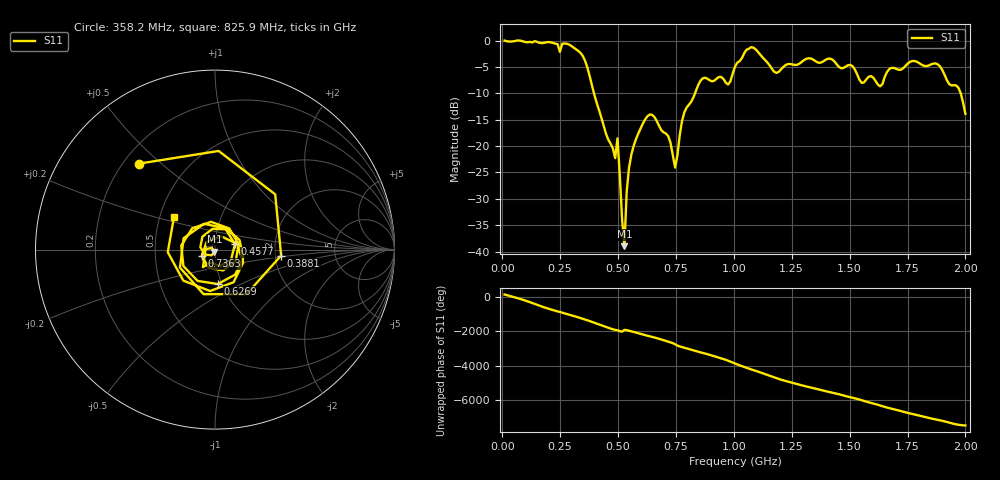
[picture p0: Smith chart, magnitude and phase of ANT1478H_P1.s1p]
!Created with skrf (http://scikit-rf.org).
# Hz S RI R 50.0
!freq ReS11 ImS11
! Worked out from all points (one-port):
!   201 points, 10 MHz to 2 GHz, reference 50 ohm
!   lowest |S11| = -39.0 dB at 527.4 MHz (marker M1), VSWR 1.02, Z = 49.7 - j1.07 ohm
!   |S11| at or under -10 dB: 396.1 MHz to 831.9 MHz (435.8 MHz wide, 71 % of centre); 1.98 GHz to end of sweep
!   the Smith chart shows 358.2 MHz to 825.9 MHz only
!   S11 on the Smith chart (normalised r, x): 358.2 MHz: 0.26, +0.42; 388.1 MHz: 2.16, -0.17; 457.8 MHz: 1.25, +0.08; 626.9 MHz: 0.96, -0.38; 736.4 MHz: 0.86, -0.06; 825.9 MHz: 0.59, +0.24
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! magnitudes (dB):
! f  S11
! 10 MHz  0.0
! 258.8 MHz  -0.6
! 358.2 MHz  -3.9
! 388.1 MHz  -8.6
! 457.8 MHz  -18.8
! 487.6 MHz  -22.3
! 497.6 MHz  -18.5
! 507.5 MHz  -25.6
! 527.4 MHz  -39.0
! 537.4 MHz  -28.6
! 557.2 MHz  -21.6
! 626.9 MHz  -14.3
! 736.4 MHz  -21.7
! 756.2 MHz  -21.8
! 786.1 MHz  -13.6
! 825.9 MHz  -10.7
! 865.7 MHz  -7.1
! 975.1 MHz  -8.3
! 1.005 GHz  -4.9
! 1.075 GHz  -1.2
! 1.184 GHz  -6.1
! 1.254 GHz  -4.5
! 1.502 GHz  -4.6
! 1.632 GHz  -8.6
! 1.751 GHz  -4.3
! 1.881 GHz  -4.5
! 1.97 GHz  -8.9
! 2 GHz  -13.9
